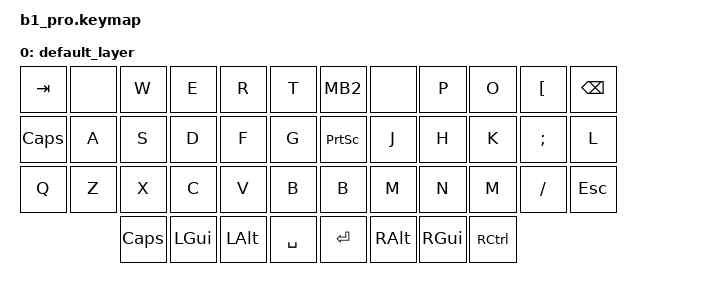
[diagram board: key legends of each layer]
#include <behaviors.dtsi>
#include <dt-bindings/zmk/keys.h>
#include <dt-bindings/zmk/bt.h>

/ {
    keymap {
        compatible = "zmk,keymap";

        default_layer {
            bindings = <
                // オリジナルのキーマップをカスタマイズした設定に変更
                &kp TAB       &none       &kp W    &kp E     &kp R     &kp T     &kp MB2          &none     &kp P     &kp O     &kp LBKT  &kp BSPC
                &kp CAPS      &kp A       &kp S    &kp D     &kp F     &kp G     &kp PSCRN       &kp J     &kp H     &kp K     &kp SEMI  &kp L
                &kp Q        &kp Z       &kp X    &kp C     &kp V     &kp B     &kp B            &kp M     &kp N     &kp M     &kp SLASH &kp ESC
                &kp CAPS     &kp LGUI    &kp LALT &kp SPACE &kp RET   &kp RALT  &kp RGUI         &kp RCTRL
            >;
        };
    };
};
